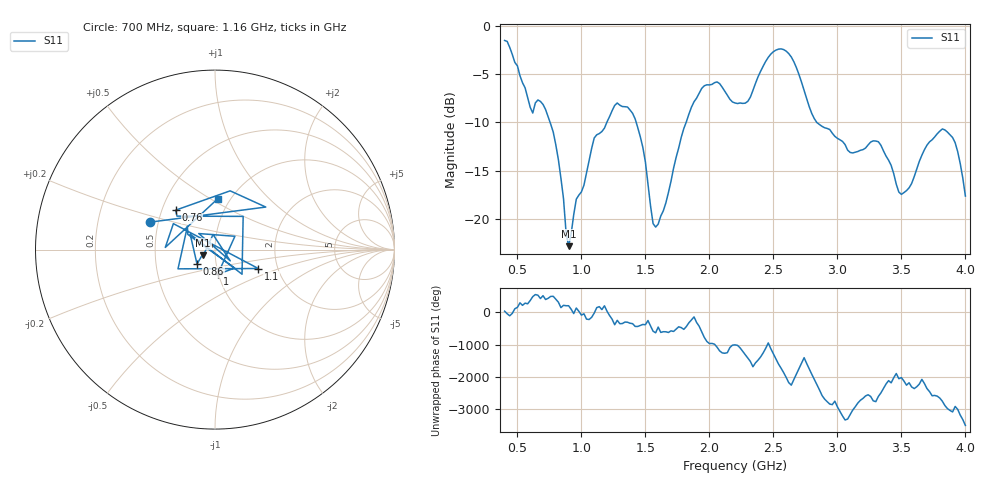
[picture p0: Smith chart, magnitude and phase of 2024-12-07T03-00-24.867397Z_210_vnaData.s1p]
!Created with skrf (http://scikit-rf.org).
# Hz S RI R 50.0
!freq ReS11 ImS11
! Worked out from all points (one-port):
!   181 points, 400 MHz to 4 GHz, reference 50 ohm
!   lowest |S11| = -22.8 dB at 900 MHz (marker M1), VSWR 1.16, Z = 43.8 - j2.83 ohm
!   |S11| at or under -10 dB: 755.6 MHz to 1.198 GHz (442.7 MHz wide, 45.3 % of centre); 1.428 GHz to 1.818 GHz (389.7 MHz wide, 24 % of centre); 2.839 GHz to end of sweep
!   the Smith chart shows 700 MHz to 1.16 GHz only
!   S11 on the Smith chart (normalised r, x): 700 MHz: 0.45, +0.16; 760 MHz: 0.59, +0.29; 860 MHz: 0.81, -0.13; 1 GHz: 0.99, -0.28; 1.1 GHz: 1.59, -0.36; 1.16 GHz: 0.88, +0.54
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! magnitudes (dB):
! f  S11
! 400 MHz  -1.5
! 620 MHz  -9.0
! 700 MHz  -8.1
! 760 MHz  -10.2
! 860 MHz  -17.8
! 900 MHz  -22.8
! 960 MHz  -17.9
! 1 GHz  -17.2
! 1.1 GHz  -11.6
! 1.16 GHz  -10.9
! 1.3 GHz  -8.2
! 1.44 GHz  -10.5
! 1.58 GHz  -20.8
! 1.76 GHz  -12.6
! 1.96 GHz  -6.2
! 2.06 GHz  -5.8
! 2.2 GHz  -8.0
! 2.3 GHz  -7.8
! 2.5 GHz  -2.7
! 2.66 GHz  -3.7
! 2.82 GHz  -9.6
! 3.1 GHz  -13.1
! 3.32 GHz  -12.0
! 3.48 GHz  -17.2
! 3.56 GHz  -16.7
! 3.82 GHz  -10.7
! 3.92 GHz  -12.1
! 4 GHz  -17.6
